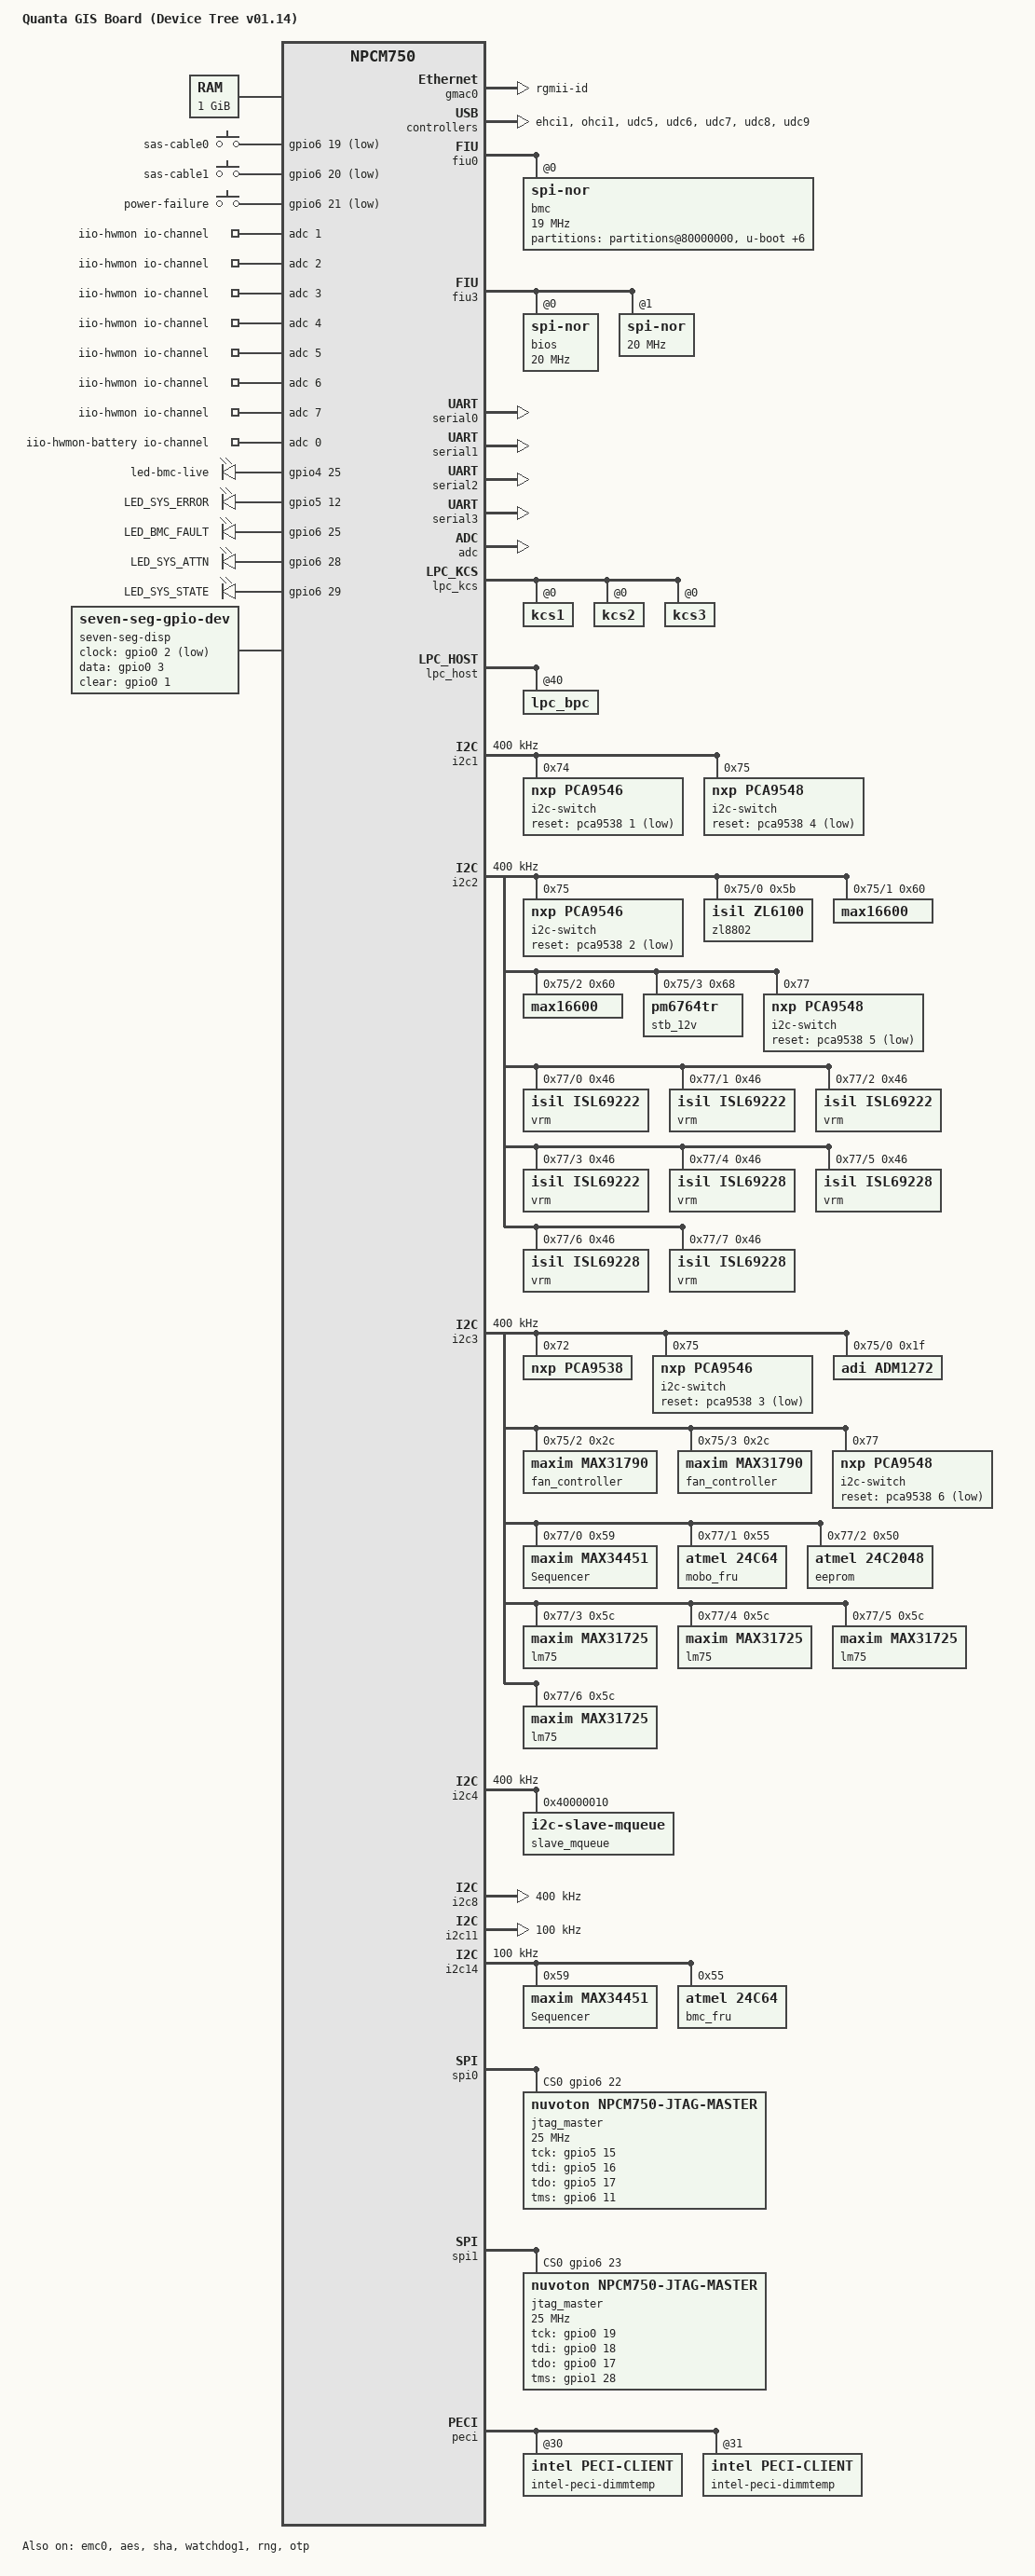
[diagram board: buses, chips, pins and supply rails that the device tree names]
// SPDX-License-Identifier: GPL-2.0
//
// Copyright (c) 2020 Quanta Computer Inc. Fran.Hsu@quantatw.com

/dts-v1/;
#include "nuvoton-npcm730.dtsi"
#include "nuvoton-npcm730-gis-pincfg.dtsi"
#include <dt-bindings/gpio/gpio.h>

/ {
	model = "Quanta GIS Board (Device Tree v01.14)";
	compatible = "nuvoton,npcm750";

	aliases {
		ethernet0 = &emc0;
		ethernet1 = &gmac0;
		serial0 = &serial0;
		serial1 = &serial1;
		serial2 = &serial2;
		serial3 = &serial3;
		udc5 = &udc5;
		udc6 = &udc6;
		udc7 = &udc7;
		udc8 = &udc8;
		udc9 = &udc9;
		i2c0 = &i2c0;
		i2c1 = &i2c1;
		i2c2 = &i2c2;
		i2c3 = &i2c3;
		i2c4 = &i2c4;
		i2c8 = &i2c8;
		i2c11 = &i2c11;
		i2c14 = &i2c14;
		i2c15 = &i2c15;
		i2c16 = &i2c_cpu0_dimmA;
		i2c17 = &i2c_cpu0_dimmE;
		i2c18 = &i2c_cpu1_dimmA;
		i2c19 = &i2c_cpu1_dimmE;
		i2c20 = &i2c_clock_gen_0;
		i2c21 = &i2c_clock_gen_1;
		i2c22 = &i2c_clock_gen_2;
		i2c23 = &i2c_clock_gen_3;
		i2c24 = &i2c_slot0;
		i2c25 = &i2c_slot1;
		i2c26 = &i2c_slot2;
		i2c27 = &i2c_slot3;
		i2c28 = &i2c_slot4;
		i2c29 = &i2c_slot5;
		i2c30 = &i2c_slot6;
		i2c31 = &i2c_slot7;
		i2c32 = &i2c_power_0;
		i2c33 = &i2c_power_1;
		i2c34 = &i2c_power_2;
		i2c35 = &i2c_power_3;
		i2c36 = &i2c_isl_0;
		i2c37 = &i2c_isl_1;
		i2c38 = &i2c_isl_2;
		i2c39 = &i2c_isl_3;
		i2c40 = &i2c_isl_4;
		i2c41 = &i2c_isl_5;
		i2c42 = &i2c_isl_6;
		i2c43 = &i2c_isl_7;
		i2c44 = &i2c_hostswap;
		i2c45 = &i2c_tmp;
		i2c46 = &i2c_fan_controller_1;
		i2c47 = &i2c_fan_controller_2;
		i2c48 = &i2c_seq;
		i2c49 = &i2c_fru_1;
		i2c50 = &i2c_fru_2;
		i2c51 = &i2c_i2cool_1;
		i2c52 = &i2c_i2cool_2;
		i2c53 = &i2c_i2cool_3;
		i2c54 = &i2c_i2cool_4;
		i2c55 = &i2c_cpu_pirom;
		fiu0 = &fiu0;
		fiu1 = &fiu3;
	};

	chosen {
		stdout-path = &serial3;
	};

	memory {
		reg = <0 0x40000000>;
	};

	gpio-keys {
		compatible = "gpio-keys";
		sas-cable0 {
			label = "sas-cable0";
			gpios = <&gpio6 19 GPIO_ACTIVE_LOW>;
			linux,code = <211>;
		};

		sas-cable1 {
			label = "sas-cable1";
			gpios = <&gpio6 20 GPIO_ACTIVE_LOW>;
			linux,code = <212>;
		};

		power-failure {
			label = "power-failure";
			gpios = <&gpio6 21 GPIO_ACTIVE_LOW>;
			linux,code = <213>;
		};
	};

	iio-hwmon {
		compatible = "iio-hwmon";
		io-channels = <&adc 1>, <&adc 2>, <&adc 3>,
			<&adc 4>, <&adc 5>, <&adc 6>, <&adc 7>;
	};

	iio-hwmon-battery {
		compatible = "iio-hwmon";
		io-channels = <&adc 0>;
	};

	leds {
		compatible = "gpio-leds";

		led-bmc-live {
			gpios = <&gpio4 25 GPIO_ACTIVE_HIGH>;
			linux,default-trigger = "heartbeat";
		};

		LED_SYS_ERROR {
			gpios = <&gpio5 12 GPIO_ACTIVE_HIGH>;
			default-state = "off";
		};

		LED_BMC_FAULT {
			gpios = <&gpio6 25 GPIO_ACTIVE_HIGH>;
			default-state = "off";
		};

		LED_SYS_ATTN {
			gpios = <&gpio6 28 GPIO_ACTIVE_HIGH>;
			default-state = "off";
		};

		LED_SYS_STATE {
			gpios = <&gpio6 29 GPIO_ACTIVE_HIGH>;
			default-state = "off";
		};
	};
	seven-seg-disp {
		compatible = "seven-seg-gpio-dev";
		refresh-interval-ms = /bits/ 16 <600>;
		clock-gpios = <&gpio0 2 GPIO_ACTIVE_LOW>;
		data-gpios = <&gpio0 3 GPIO_ACTIVE_HIGH>;
		clear-gpios = <&gpio0 1 GPIO_ACTIVE_HIGH>;
	};
	pcie-slot {
		pcie0: pcie-slot@0 {
			label = "PE0";
		};

		pcie1: pcie-slot@1 {
			label = "PE1";
		};

		pcie2: pcie-slot@2 {
			label = "PE2";
		};

		pcie3: pcie-slot@3 {
			label = "PE3";
		};

		pcie4: pcie-slot@4 {
			label = "PE4";
		};

		pcie5: pcie-slot@5 {
			label = "PE5";
		};

		pcie6: pcie-slot@6 {
			label = "PE6";
		};

		pcie7: pcie-slot@7 {
			label = "PE7";
		};
	};
};

&gcr {
	serial_port_mux: mux-controller {
		compatible = "mmio-mux";
		#mux-control-cells = <1>;
		mux-reg-masks = <0x38 0x07>;
		idle-states = <2>; /* Serial port mode 3 (takeover) */
	};
};

&gmac0 {
	phy-mode = "rgmii-id";
	snps,eee-force-disable;
	status = "okay";
};

&emc0 {
	phy-mode = "rmii";
	use-ncsi;
	status = "okay";
};

&mc {
	compatible = "nuvoton,npcm7xx-sdram-edac";
	reg = <0xf0824000 0x1000>;
	interrupts = <GIC_SPI 25 IRQ_TYPE_LEVEL_HIGH>;
};

&ehci1 {
	status = "okay";
};

&ohci1 {
	status = "okay";
};

&aes {
	status = "okay";
};

&sha {
	status = "okay";
};

&udc5 {
	status = "okay";
};

&udc6 {
	status = "okay";
};

&udc7 {
	status = "okay";
};

&udc8 {
	status = "okay";
};

&udc9 {
	status = "okay";
};

&pcimbox {
	status = "okay";
};

&fiu0 {
	pinctrl-names = "default";
	pinctrl-0 = <&spi0cs1_pins>;
	status = "okay";
	spi-nor@0 {
		compatible = "jedec,spi-nor";
		#address-cells = <1>;
		#size-cells = <1>;
		reg = <0>;
		spi-max-frequency = <19000000>;
		spi-rx-bus-width = <2>;
		label = "bmc";
		partitions@80000000 {
			compatible = "fixed-partitions";
			#address-cells = <1>;
			#size-cells = <1>;
			u-boot@0 {
				label = "u-boot";
				reg = <0x0000000 0xf0000>;
			};
			image-descriptor@f0000 {
				label = "image-descriptor";
				reg = <0xf0000 0x10000>;
			};
			titan-s-update@100000 {
				label = "titan-s-update";
				reg = <0x100000 0x100000>;
			};
			kernel@200000 {
				label = "kernel";
				reg = <0x200000 0x500000>;
			};
			rofs@700000 {
				label = "rofs";
				reg = <0x700000 0x35f0000>;
			};
			rwfs@3cf0000 {
				label = "rwfs";
				reg = <0x3cf0000 0x300000>;
			};
			titan-s-mailbox@3ff0000 {
				label = "titan-s-mailbox";
				reg = <0x3ff0000 0x10000>;
			};
		};
	};
};

&fiu3 {
	pinctrl-0 = <&spi3_pins>, <&spi3cs1_pins>;
	status = "okay";
	spi-nor@0 {
		compatible = "jedec,spi-nor";
		#address-cells = <1>;
		#size-cells = <1>;
		reg = <0>;
		spi-max-frequency = <20000000>;
		spi-rx-bus-width = <2>;
		label="bios";
	};
	spi-nor@1 {
		compatible = "jedec,spi-nor";
		#address-cells = <1>;
		#size-cells = <1>;
		reg = <1>;
		spi-max-frequency = <20000000>;
		spi-rx-bus-width = <2>;
	};
};

&watchdog1 {
	status = "okay";
};

&rng {
	status = "okay";
};

&serial0 {
	status = "okay";
};

&serial1 {
	status = "okay";
};

&serial2 {
	status = "okay";
};

&serial3 {
	status = "okay";
};

&adc {
	#io-channel-cells = <1>;
	status = "okay";
};

&otp {
	status = "okay";
};

&lpc_kcs {
	kcs1: kcs1@0 {
		status = "okay";
	};

	kcs2: kcs2@0 {
		status = "okay";
	};

	kcs3: kcs3@0 {
		status = "okay";
	};
};

&lpc_host {
	lpc_bpc: lpc_bpc@40 {
		monitor-ports = <0x80>;
		status = "okay";
	};
};

&i2c0 {
	#address-cells = <1>;
	#size-cells = <0>;
	clock-frequency = <400000>;
	status = "disabled";
	i2c-switch@73 {
		compatible = "nxp,pca9546";
		reg = <0x73>;
		#address-cells = <1>;
		#size-cells = <0>;
		i2c-mux-idle-disconnect;
		reset-gpios = <&pca9538 0 GPIO_ACTIVE_LOW>;

		i2c_cpu0_dimmA: i2c@0 {
			#address-cells = <1>;
			#size-cells = <0>;
			reg = <0>;
		};

		i2c_cpu0_dimmE: i2c@1 {
			#address-cells = <1>;
			#size-cells = <0>;
			reg = <1>;
		};
		i2c_cpu1_dimmA: i2c@2 {
			#address-cells = <1>;
			#size-cells = <0>;
			reg = <2>;
		};

		i2c_cpu1_dimmE: i2c@3 {
			#address-cells = <1>;
			#size-cells = <0>;
			reg = <3>;
		};
	};
};

&i2c1 {
	#address-cells = <1>;
	#size-cells = <0>;
	clock-frequency = <400000>;
	status = "okay";
	i2c-switch@74 {
		compatible = "nxp,pca9546";
		reg = <0x74>;
		#address-cells = <1>;
		#size-cells = <0>;
		i2c-mux-idle-disconnect;
		reset-gpios = <&pca9538 1 GPIO_ACTIVE_LOW>;

		i2c_clock_gen_0: i2c@0 {
			#address-cells = <1>;
			#size-cells = <0>;
			reg = <0>;
		};

		i2c_clock_gen_1: i2c@1 {
			#address-cells = <1>;
			#size-cells = <0>;
			reg = <1>;
		};
		i2c_clock_gen_2: i2c@2 {
			#address-cells = <1>;
			#size-cells = <0>;
			reg = <2>;
		};

		i2c_clock_gen_3: i2c@3 {
			#address-cells = <1>;
			#size-cells = <0>;
			reg = <3>;
		};
	};

	i2c-switch@75 {
		compatible = "nxp,pca9548";
		#address-cells = <1>;
		#size-cells = <0>;
		reg = <0x75>;
		i2c-mux-idle-disconnect;
		reset-gpios = <&pca9538 4 GPIO_ACTIVE_LOW>;

			i2c_slot0: i2c@0 {
			#address-cells = <1>;
			#size-cells = <0>;
			reg = <0>;
			pcie-slot = &pcie0;
		};

			i2c_slot1: i2c@1 {
			#address-cells = <1>;
			#size-cells = <0>;
			reg = <1>;
			pcie-slot = &pcie1;
		};

		i2c_slot2: i2c@2 {
			#address-cells = <1>;
			#size-cells = <0>;
			reg = <2>;
			pcie-slot = &pcie2;
		};

		i2c_slot3: i2c@3 {
			#address-cells = <1>;
			#size-cells = <0>;
			reg = <3>;
			pcie-slot = &pcie3;
		};

		i2c_slot4: i2c@4 {
			#address-cells = <1>;
			#size-cells = <0>;
			reg = <4>;
			pcie-slot = &pcie4;
		};

		i2c_slot5: i2c@5 {
			#address-cells = <1>;
			#size-cells = <0>;
			reg = <5>;
			pcie-slot = &pcie5;
		};

		i2c_slot6: i2c@6 {
			#address-cells = <1>;
			#size-cells = <0>;
			reg = <6>;
			pcie-slot = &pcie6;
		};

		i2c_slot7: i2c@7 {
			#address-cells = <1>;
			#size-cells = <0>;
			reg = <7>;
			pcie-slot = &pcie7;
		};
	};
};

&i2c2 {
	#address-cells = <1>;
	#size-cells = <0>;
	clock-frequency = <400000>;
	status = "okay";

	i2c-switch@75 {
		compatible = "nxp,pca9546";
		reg = <0x75>;
		#address-cells = <1>;
		#size-cells = <0>;
		i2c-mux-idle-disconnect;
		reset-gpios = <&pca9538 2 GPIO_ACTIVE_LOW>;

		i2c_power_0: i2c@0 {
			#address-cells = <1>;
			#size-cells = <0>;
			reg = <0>;
			zl8802@5b {
				compatible = "isil,zl6100";
				reg = <0x5b>;
			};
		};

		i2c_power_1: i2c@1 {
			#address-cells = <1>;
			#size-cells = <0>;
			reg = <1>;
			max16600@60 {
				compatible = "max16600";
				reg = <0x60>;
			};
		};

		i2c_power_2: i2c@2 {
			#address-cells = <1>;
			#size-cells = <0>;
			reg = <2>;
			max16600@60 {
				compatible = "max16600";
				reg = <0x60>;
			};
		};

		i2c_power_3: i2c@3 {
			#address-cells = <1>;
			#size-cells = <0>;
			reg = <3>;
			stb_12v@68 {
				compatible = "pm6764tr";
				reg = <0x68>;
			};
		};
	};

	i2c-switch@77 {
		compatible = "nxp,pca9548";
		#address-cells = <1>;
		#size-cells = <0>;
		reg = <0x77>;
		i2c-mux-idle-disconnect;
		reset-gpios = <&pca9538 5 GPIO_ACTIVE_LOW>;

		i2c_isl_0: i2c@0 {
			#address-cells = <1>;
			#size-cells = <0>;
			reg = <0>;
			vrm@46 {
				compatible = "isil,isl69222";
				reg = <0x46>;
			};
		};

		i2c_isl_1: i2c@1 {
			#address-cells = <1>;
			#size-cells = <0>;
			reg = <1>;
			vrm@46 {
				compatible = "isil,isl69222";
				reg = <0x46>;
			};
		};

		i2c_isl_2: i2c@2 {
			#address-cells = <1>;
			#size-cells = <0>;
			reg = <2>;
			vrm@46 {
				compatible = "isil,isl69222";
				reg = <0x46>;
			};
		};

		i2c_isl_3: i2c@3 {
			#address-cells = <1>;
			#size-cells = <0>;
			reg = <3>;
			vrm@46 {
				compatible = "isil,isl69222";
				reg = <0x46>;
			};
		};

		i2c_isl_4: i2c@4 {
			#address-cells = <1>;
			#size-cells = <0>;
			reg = <4>;
			vrm@46 {
				compatible = "isil,isl69228";
				reg = <0x46>;
			};
		};

		i2c_isl_5: i2c@5 {
			#address-cells = <1>;
			#size-cells = <0>;
			reg = <5>;
			vrm@46 {
				compatible = "isil,isl69228";
				reg = <0x46>;
			};
		};

		i2c_isl_6: i2c@6 {
			#address-cells = <1>;
			#size-cells = <0>;
			reg = <6>;
			vrm@46 {
				compatible = "isil,isl69228";
				reg = <0x46>;
			};
		};

		i2c_isl_7: i2c@7 {
			#address-cells = <1>;
			#size-cells = <0>;
			reg = <7>;
			vrm@46 {
				compatible = "isil,isl69228";
				reg = <0x46>;
			};
		};
	};
};

&i2c3 {
	#address-cells = <1>;
	#size-cells = <0>;
	clock-frequency = <400000>;
	status = "okay";

	pca9538: pca9538@72 {
		compatible = "nxp,pca9538";
		reg = <0x72>;
		gpio-controller;
		#gpio-cells = <2>;

		U3009_P0 {
			gpio-hog;
			gpios = <0 0>;
			output-low;
			line-name = "RST_SMB_MUX_TCA9545_N";
		};
	};

	i2c-switch@75 {
		compatible = "nxp,pca9546";
		reg = <0x75>;
		#address-cells = <1>;
		#size-cells = <0>;
		i2c-mux-idle-disconnect;
		reset-gpios = <&pca9538 3 GPIO_ACTIVE_LOW>;

		i2c_hostswap: i2c@0 {
			#address-cells = <1>;
			#size-cells = <0>;
			reg = <0>;

			adm1272@1f {
				compatible = "adi,adm1272";
				reg = <0x1f>;
				shunt-resistor-micro-ohms = <330>;
			};
		};
		i2c_tmp: i2c@1 {
			#address-cells = <1>;
			#size-cells = <0>;
			reg = <1>;
		};
		i2c_fan_controller_1: i2c@2 {
			#address-cells = <1>;
			#size-cells = <0>;
			reg = <2>;
			fan_controller@2c {
				compatible = "maxim,max31790";
				reg = <0x2c>;
				#address-cells = <1>;
				#size-cells = <0>;
			};
		};

		i2c_fan_controller_2: i2c@3 {
			#address-cells = <1>;
			#size-cells = <0>;
			reg = <3>;
			fan_controller@2c {
				compatible = "maxim,max31790";
				reg = <0x2c>;
				#address-cells = <1>;
				#size-cells = <0>;
			};
		};
	};

	i2c-switch@77 {
		compatible = "nxp,pca9548";
		#address-cells = <1>;
		#size-cells = <0>;
		reg = <0x77>;
		i2c-mux-idle-disconnect;
		reset-gpios = <&pca9538 6 GPIO_ACTIVE_LOW>;

		i2c_seq: i2c@0 {
			#address-cells = <1>;
			#size-cells = <0>;
			reg = <0>;
			Sequencer@59 {
				compatible = "maxim,max34451";
				reg = <0x59>;
			};
		};

		i2c_fru_1: i2c@1 {
			#address-cells = <1>;
			#size-cells = <0>;
			reg = <1>;
			mobo_fru@55 {
				compatible = "atmel,24c64";
				reg = <0x55>;
			};
		};

		i2c_fru_2: i2c@2 {
			#address-cells = <1>;
			#size-cells = <0>;
			reg = <2>;
			eeprom@50 {
				compatible = "atmel,24c2048";
				reg = <0x50>;
			};
		};

		i2c_i2cool_1: i2c@3 {
			#address-cells = <1>;
			#size-cells = <0>;
			reg = <3>;
			lm75@5c {
				compatible = "maxim,max31725";
				reg = <0x5c>;
				status = "okay";
			};
		};

		i2c_i2cool_2: i2c@4 {
			#address-cells = <1>;
			#size-cells = <0>;
			reg = <4>;
			lm75@5c {
				compatible = "maxim,max31725";
				reg = <0x5c>;
				status = "okay";
			};
		};

		i2c_i2cool_3: i2c@5 {
			#address-cells = <1>;
			#size-cells = <0>;
			reg = <5>;
			lm75@5c {
				compatible = "maxim,max31725";
				reg = <0x5c>;
				status = "okay";
			};
		};

		i2c_i2cool_4: i2c@6 {
			#address-cells = <1>;
			#size-cells = <0>;
			reg = <6>;
			lm75@5c {
				compatible = "maxim,max31725";
				reg = <0x5c>;
				status = "okay";
			};
		};

		i2c_cpu_pirom: i2c@7 {
			#address-cells = <1>;
			#size-cells = <0>;
			reg = <7>;
		};
	};
};

&i2c4 {
	#address-cells = <1>;
	#size-cells = <0>;
	clock-frequency = <400000>;
	status = "okay";
	slave_mqueue: i2c-slave-mqueue@40000010 {
		compatible = "i2c-slave-mqueue";
		reg = <0x40000010>;
		status = "okay";
	};
};

&i2c8 {
	#address-cells = <1>;
	#size-cells = <0>;
	clock-frequency = <400000>;
	status = "okay";
};

&i2c11 {
	#address-cells = <1>;
	#size-cells = <0>;
	clock-frequency = <100000>;
	status = "okay";
};

&i2c14 {
	#address-cells = <1>;
	#size-cells = <0>;
	clock-frequency = <100000>;
	status = "okay";
	Sequencer@59 {
		compatible = "maxim,max34451";
		reg = <0x59>;
	};

	bmc_fru@55 {
		compatible = "atmel,24c64";
		reg = <0x55>;
	};
};

&spi0 {
	cs-gpios = <&gpio6 22 GPIO_ACTIVE_HIGH>;
	pinctrl-names = "default";
	pinctrl-0 = <&gpio175ol_pins &gpio176o_pins
		&gpio177_pins>;
	status = "okay";
	jtag_master {
		compatible = "nuvoton,npcm750-jtag-master";
		spi-max-frequency = <25000000>;
		reg = <0>;

		pinctrl-names = "pspi", "gpio";
		pinctrl-0 = <&pspi1_pins>;
		pinctrl-1 = <&gpio175ol_pins &gpio176o_pins
				&gpio177_pins>;

		tck-gpios = <&gpio5 15 GPIO_ACTIVE_HIGH>;
		tdi-gpios = <&gpio5 16 GPIO_ACTIVE_HIGH>;
		tdo-gpios = <&gpio5 17 GPIO_ACTIVE_HIGH>;
		tms-gpios = <&gpio6 11 GPIO_ACTIVE_HIGH>;
		status = "okay";
	};
};

&spi1 {
	cs-gpios = <&gpio6 23 GPIO_ACTIVE_HIGH>;
	pinctrl-names = "default";
	pinctrl-0 = <&gpio17_pins &gpio18o_pins
		&gpio19ol_pins>;
	status = "okay";
	jtag_master {
		compatible = "nuvoton,npcm750-jtag-master";
		spi-max-frequency = <25000000>;
		reg = <0>;

		pinctrl-names = "pspi", "gpio";
		pinctrl-0 = <&pspi2_pins>;
		pinctrl-1 = <&gpio17_pins &gpio18o_pins
				&gpio19ol_pins>;

		tck-gpios = <&gpio0 19 GPIO_ACTIVE_HIGH>;
		tdi-gpios = <&gpio0 18 GPIO_ACTIVE_HIGH>;
		tdo-gpios = <&gpio0 17 GPIO_ACTIVE_HIGH>;
		tms-gpios = <&gpio1 28 GPIO_ACTIVE_HIGH>;
		status = "okay";
	};
};

&pinctrl {
	pinctrl-names = "default";
	pinctrl-0 = <
			/* GPI pins*/
			&gpio4_pins
			&gpio5_pins
			&gpio8_pins
			&gpio9_pins
			&gpio10_pins
			&gpio11_pins
			&gpio13_pins
			&gpio14_pins
			&gpio20_pins
			&gpio21_pins
			&gpio24_pins
			&gpio25_pins
			&gpio38_pins
			&gpio39_pins
			&gpio40_pins
			&gpio64_pins
			&gpio65_pins
			&gpio71_pins
			&gpio73_pins
			&gpio74_pins
			&gpio78_pins
			&gpio79_pins
			&gpio88_pins
			&gpio93_pins
			&gpio94_pins
			&gpio120_pins
			&gpio121_pins
			&gpio122_pins
			&gpio123_pins
			&gpio124_pins
			&gpio125_pins
			&gpio126_pins
			&gpio127_pins
			&gpio130_pins
			&gpio136_pins
			&gpio137_pins
			&gpio138_pins
			&gpio139_pins
			&gpio140_pins
			&gpio141_pins
			&gpio142_pins
			&gpio143_pins
			&gpio144_pins
			&gpio146_pins
			&gpio147_pins
			&gpio154_pins
			&gpio155_pins
			&gpio156_pins
			&gpio171_pins
			&gpio174_pins
			&gpio194_pins
			&gpio195_pins
			&gpio196_pins
			&gpio197_pins
			&gpio199_pins
			&gpio202_pins
			&gpio204_pins
			&gpio205_pins
			&gpio223_pins
			&gpio224_pins
			&gpio227_pins
			&gpio228_pins
			&gpio230_pins
			&gpio231_pins
			&gpio177_pins
			&gpio17_pins
			/* GPO pins*/
			&gpio175ol_pins
			&gpio176o_pins
			&gpio18o_pins
			&gpio19ol_pins
			>;
};

&gpio0 {
	gpio-line-names =
	/*0-31*/	"","","","","","","RESET_OUT","POWER_OUT",
			"","","CPU1_MEM_THERM_EVENT","CPU2_MEM_THERM_EVENT","","PS_PWROK","","",
			"","","","","SIO_POWER_GOOD","","","",
			"CPU1_THERMTRIP","CPU2_THERMTRIP","","","","","","";
};
&gpio1 {
	gpio-line-names =
	/*32-63*/	"","","","","","","CPU_CATERR","",
			"","","","","","","","",
			"","","","","","","","",
			"","","","","","","","";
};
&gpio2 {
	gpio-line-names =
	/*64-95*/	"POWER_BUTTON","RESET_BUTTON","","","","","","",
			"","CPU1_VRHOT","CPU2_VRHOT","","","DEBUG_EN_N","XDP_PRST_N","",
			"","TCK_MUX_SEL","PWR_DEBUG_N","PREQ_N","","","","",
			"","","","","","","PCH_BMC_THERMTRIP","";
};
&gpio4 {
	gpio-line-names =
	/*128-159*/	"","","","","","","","",
			"","","CPU_ERR0","CPU_ERR1","CPU_ERR2","","","POST_COMPLETE",
			"PRDY_N","SYSPWROK","","","","","","",
			"","","","","SMI","","","";
};
&gpio6 {
	gpio-line-names =
	/*192-223*/	"","","","","","","","SIO_S5",
			"","","","","","","","",
			"","","","","","","","",
			"","","","","","","","";
};
&gpio7 {
	gpio-line-names =
	/*224-255*/	"","","","PLTRST_N","CPU1_FIVR_FAULT","","CPU2_FIVR_FAULT","",
			"","","","","","","","",
			"","","","","","","","",
			"","","","","","","","";
};

&peci {
	cmd-timeout-ms = <1000>;
	pull-down = <0>;
	host-neg-bit-rate = <15>;
	status = "okay";

	intel-peci-dimmtemp@30 {
		compatible = "intel,peci-client";
		reg = <0x30>;
		status = "okay";
	};

	intel-peci-dimmtemp@31 {
		compatible = "intel,peci-client";
		reg = <0x31>;
		status = "okay";
	};
};
